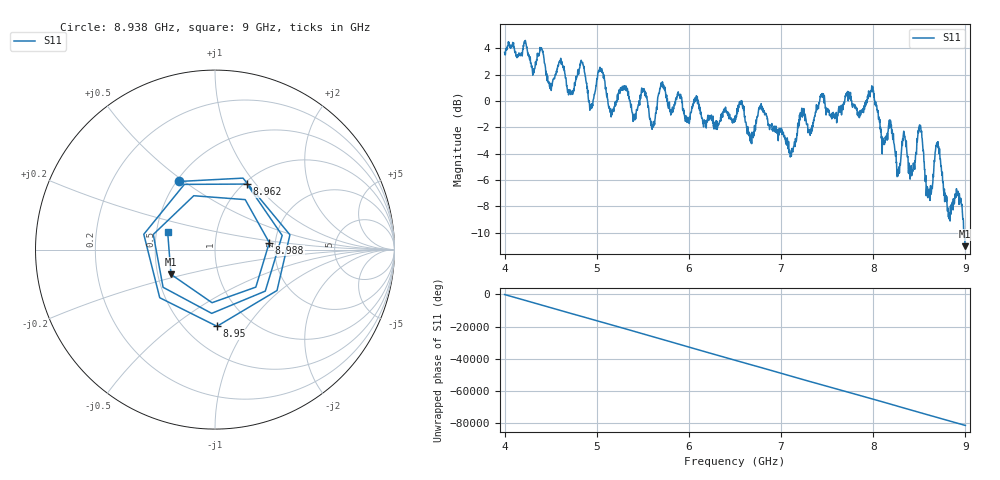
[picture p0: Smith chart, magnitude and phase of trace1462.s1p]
! Created with skrf 1.8.0 (http://scikit-rf.org).
# Hz S RI R 50.0
!freq ReS11 ImS11
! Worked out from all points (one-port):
!   1601 points, 4 GHz to 9 GHz, reference 50 ohm
!   lowest |S11| = -11.0 dB at 8.997 GHz (marker M1), VSWR 1.78, Z = 29.3 - j8.78 ohm
!   |S11| at or under -10 dB: 8.985763 GHz to end of sweep
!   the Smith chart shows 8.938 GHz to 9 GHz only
!   S11 on the Smith chart (normalised r, x): 8.938 GHz: 0.51, +0.48; 8.95 GHz: 0.70, -0.74; 8.962 GHz: 1.03, +0.90; 8.988 GHz: 1.86, +0.16; 9 GHz: 0.57, +0.12
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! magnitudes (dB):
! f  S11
! 4 GHz  3.7
! 4.625 GHz  2.8
! 4.716 GHz  0.5
! 4.844 GHz  2.9
! 4.934 GHz  -0.6
! 5.038 GHz  2.3
! 5.15 GHz  -0.6
! 5.25 GHz  0.6
! 5.603 GHz  -2.0
! 5.703 GHz  1.1
! 5.875 GHz  0.5
! 6.5 GHz  -1.6
! 7.125 GHz  -3.8
! 7.434 GHz  0.3
! 7.75 GHz  0.4
! 7.984 GHz  1.2
! 8.106 GHz  -2.9
! 8.375 GHz  -4.2
! 8.506 GHz  -2.1
! 8.6 GHz  -7.1
! 8.697 GHz  -3.1
! 8.819 GHz  -8.4
! 8.938 GHz  -7.3
! 8.95 GHz  -7.4
! 8.962 GHz  -7.8
! 8.988 GHz  -10.3
! 8.997 GHz  -11.0
! 9 GHz  -11.0
